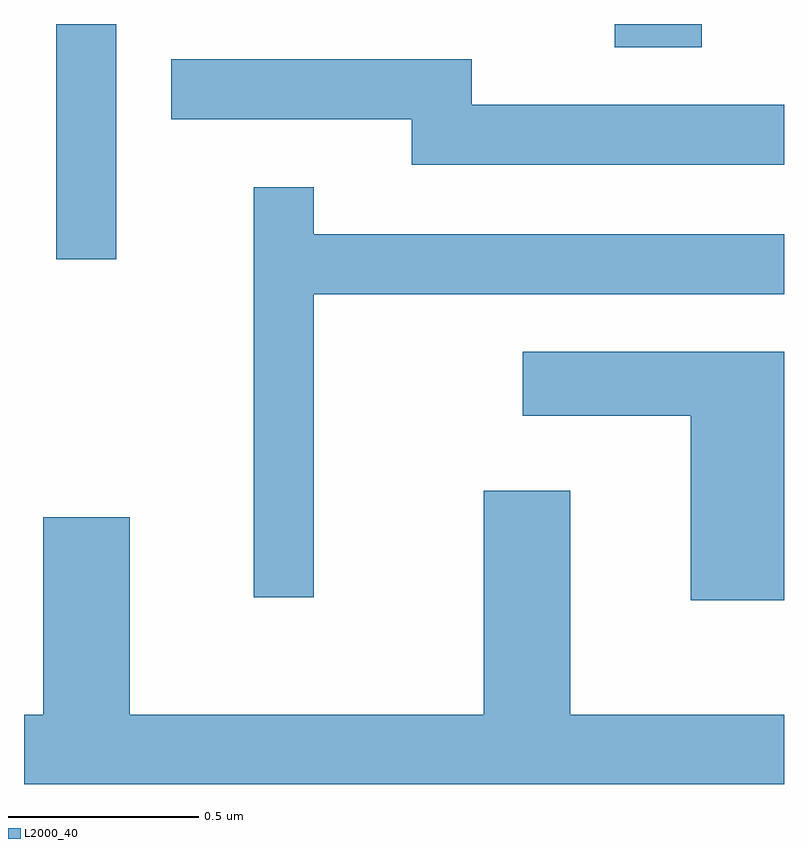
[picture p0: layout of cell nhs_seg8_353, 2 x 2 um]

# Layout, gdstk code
import gdstk
lib = gdstk.Library(unit=1e-6, precision=1e-09)
def R(c, l, rs):  # rectangles x0, y0, x1, y1
    for r in rs: c.add(gdstk.rectangle(r[:2], r[2:], *l))
def P(c, l, *ps):  # polygons
    for p in ps: c.add(gdstk.Polygon(p, *l))
L2000_40 = (2000, 40)

nhs_seg8_353 = lib.new_cell('nhs_seg8_353')
R(nhs_seg8_353, L2000_40, [(187.696,1886.723,187.854,1887.342), (189.166,1887.281,189.394,1887.342)])
P(nhs_seg8_353, L2000_40, [(189.611,1887.129),(188.789,1887.129),(188.789,1887.249),(187.998,1887.249),(187.998,1887.091),(188.631,1887.091),(188.631,1886.971),(189.611,1886.971)],
  [(188.374,1886.631),(189.611,1886.631),(189.611,1886.789),(188.374,1886.789),(188.374,1886.913),(188.216,1886.913),(188.216,1885.833),(188.374,1885.833)],
  [(189.611,1886.479),(188.923,1886.479),(188.923,1886.311),(189.366,1886.311),(189.366,1885.826),(189.611,1885.826)],
  [(189.611,1885.524),(189.049,1885.524),(189.049,1886.114),(188.821,1886.114),(188.821,1885.524),(187.889,1885.524),(187.889,1886.044),(187.661,1886.044),(187.661,1885.524),(187.611,1885.524),(187.611,1885.342),(189.611,1885.342)])

lib.write_gds('nhs_seg8_353.gds')
